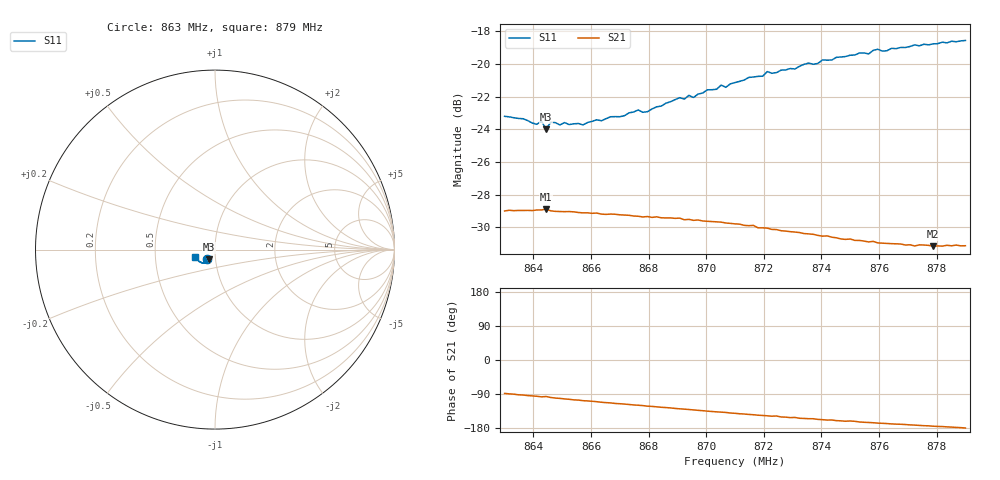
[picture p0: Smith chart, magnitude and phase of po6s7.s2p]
# HZ S RI R 50
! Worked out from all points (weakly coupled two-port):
!   101 points, 863 MHz to 879 MHz, reference 50 ohm
!   highest |S21| = -28.89 dB at 864.44 MHz (marker M1); lowest = -31.2 dB at 877.88 MHz (marker M2)
!   lowest |S11| = -24.0 dB at 864.44 MHz (marker M3), VSWR 1.13, Z = 46.5 - j4.97 ohm
!   |S11| at or under -10 dB: start of sweep to end of sweep
!   S12 and S22 are empty: the file has one direction only
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8.63e8  -0.0444 -0.053  0.00114 -0.0354  0 0  0 0
8.6412e8  -0.0386 -0.0527  -0.00354 -0.0355  0 0  0 0
8.6428e8  -0.0387 -0.0545  -0.00453 -0.0354  0 0  0 0
8.6444e8  -0.0339 -0.0533  -0.00395 -0.0357  0 0  0 0
8.646e8  -0.0377 -0.0545  -0.00553 -0.0351  0 0  0 0
8.6572e8  -0.0353 -0.0547  -0.0104 -0.0334  0 0  0 0
8.6844e8  -0.0348 -0.0656  -0.0193 -0.0278  0 0  0 0
8.6908e8  -0.0387 -0.0687  -0.0212 -0.0263  0 0  0 0
8.6956e8  -0.0389 -0.0687  -0.0221 -0.0248  0 0  0 0
8.7004e8  -0.0419 -0.0721  -0.0233 -0.0234  0 0  0 0
8.7036e8  -0.0427 -0.0719  -0.024 -0.0225  0 0  0 0
8.7052e8  -0.0444 -0.0739  -0.0242 -0.0221  0 0  0 0
8.7068e8  -0.0439 -0.0726  -0.0244 -0.0216  0 0  0 0
8.71e8  -0.0471 -0.074  -0.025 -0.0205  0 0  0 0
8.7196e8  -0.0535 -0.0745  -0.0262 -0.0174  0 0  0 0
8.7212e8  -0.0573 -0.0755  -0.0264 -0.017  0 0  0 0
8.7244e8  -0.0561 -0.0756  -0.0263 -0.0166  0 0  0 0
8.7372e8  -0.065 -0.0757  -0.0273 -0.0127  0 0  0 0
8.7404e8  -0.0729 -0.0726  -0.0274 -0.0114  0 0  0 0
8.7644e8  -0.0927 -0.0623  -0.0276 -0.00554  0 0  0 0
8.7788e8  -0.1034 -0.0509  -0.0276 -0.00257  0 0  0 0
8.79e8  -0.1111 -0.0397  -0.0278 -0.000281  0 0  0 0
